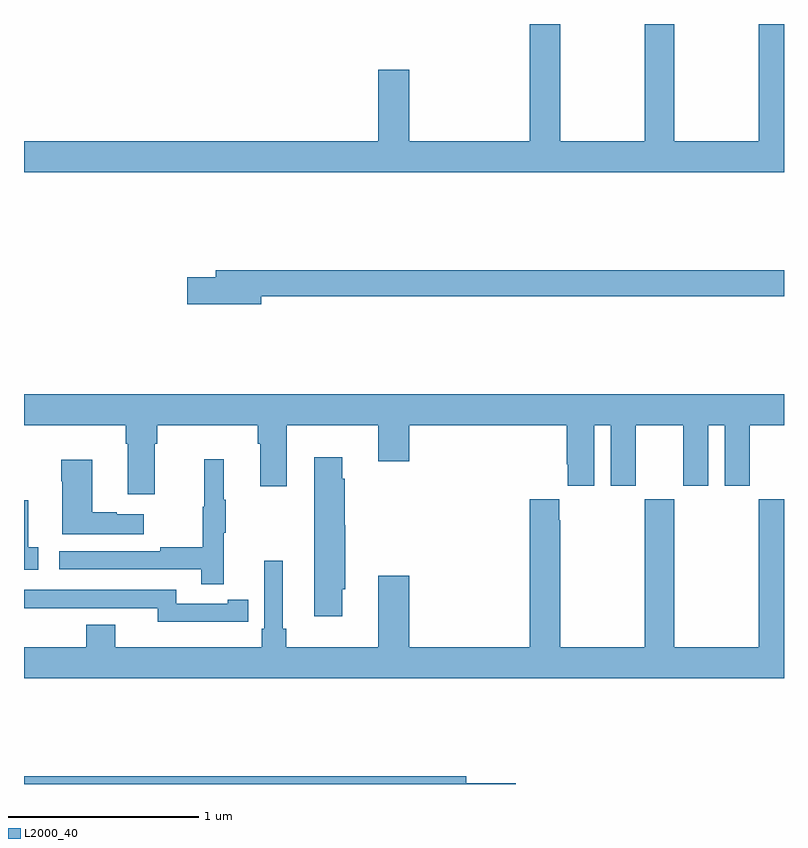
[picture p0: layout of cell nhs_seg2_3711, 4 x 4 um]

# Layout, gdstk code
import gdstk
lib = gdstk.Library(unit=1e-6, precision=1e-09)
def P(c, l, *ps):  # polygons
    for p in ps: c.add(gdstk.Polygon(p, *l))
L2000_40 = (2000, 40)

nhs_seg2_3711 = lib.new_cell('nhs_seg2_3711')
P(nhs_seg2_3711, L2000_40, [(311,597.8),(310.867,597.8),(310.867,597.184),(310.422,597.184),(310.422,597.8),(310.267,597.8),(310.267,597.184),(309.822,597.184),(309.822,597.8),(309.662,597.8),(309.662,597.184),(309.028,597.184),(309.028,597.559),(308.864,597.559),(308.864,597.184),(307,597.184),(307,597.02),(311,597.02)],
  [(308.248,596.368),(311,596.368),(311,596.504),(308.009,596.504),(308.009,596.468),(307.86,596.468),(307.86,596.326),(308.248,596.326)],
  [(307.687,595.592),(307.7,595.592),(307.7,595.688),(308.231,595.688),(308.231,595.592),(308.243,595.592),(308.243,595.368),(308.383,595.368),(308.383,595.688),(308.864,595.688),(308.864,595.5),(309.028,595.5),(309.028,595.688),(309.857,595.688),(309.857,595.483),(309.863,595.483),(309.863,595.371),(310,595.371),(310,595.688),(310.088,595.688),(310.088,595.371),(310.219,595.371),(310.219,595.688),(310.469,595.688),(310.469,595.371),(310.6,595.371),(310.6,595.688),(310.688,595.688),(310.688,595.371),(310.819,595.371),(310.819,595.688),(311,595.688),(311,595.852),(307,595.852),(307,595.688),(307.535,595.688),(307.535,595.592),(307.547,595.592),(307.547,595.326),(307.687,595.326)],
  [(308.674,594.825),(308.692,594.825),(308.692,595.161),(308.687,595.161),(308.687,595.406),(308.674,595.406),(308.674,595.519),(308.528,595.519),(308.528,594.684),(308.674,594.684)],
  [(308.051,595.123),(308.062,595.123),(308.062,595.297),(308.051,595.297),(308.051,595.51),(307.948,595.51),(307.948,595.26),(307.941,595.26),(307.941,595.046),(307.717,595.046),(307.717,595.026),(307.185,595.026),(307.185,594.93),(307.933,594.93),(307.933,594.852),(308.051,594.852)],
  [(307.63,595.219),(307.487,595.219),(307.487,595.229),(307.36,595.229),(307.36,595.507),(307.195,595.507),(307.195,595.394),(307.202,595.394),(307.202,595.115),(307.63,595.115)],
  [(309.817,595.187),(309.817,595.3),(309.662,595.3),(309.662,594.52),(309.028,594.52),(309.028,594.895),(308.864,594.895),(308.864,594.52),(308.381,594.52),(308.381,594.616),(308.362,594.616),(308.362,594.976),(308.265,594.976),(308.265,594.616),(308.252,594.616),(308.252,594.52),(307.48,594.52),(307.48,594.637),(307.328,594.637),(307.328,594.52),(307,594.52),(307,594.356),(311,594.356),(311,595.3),(310.867,595.3),(310.867,594.52),(310.422,594.52),(310.422,595.3),(310.267,595.3),(310.267,594.52),(309.822,594.52),(309.822,595.187)],
  [(307.075,595.047),(307.022,595.047),(307.022,595.294),(307,595.294),(307,594.927),(307.075,594.927)],
  [(308.072,594.654),(308.18,594.654),(308.18,594.77),(308.072,594.77),(308.072,594.75),(307.8,594.75),(307.8,594.822),(307,594.822),(307,594.725),(307.244,594.725),(307.244,594.726),(307.704,594.726),(307.704,594.653),(308.072,594.653)],
  [(309.589,593.804),(309.328,593.804),(309.328,593.84),(307,593.84),(307,593.8),(309.589,593.8)])

lib.write_gds('nhs_seg2_3711.gds')
